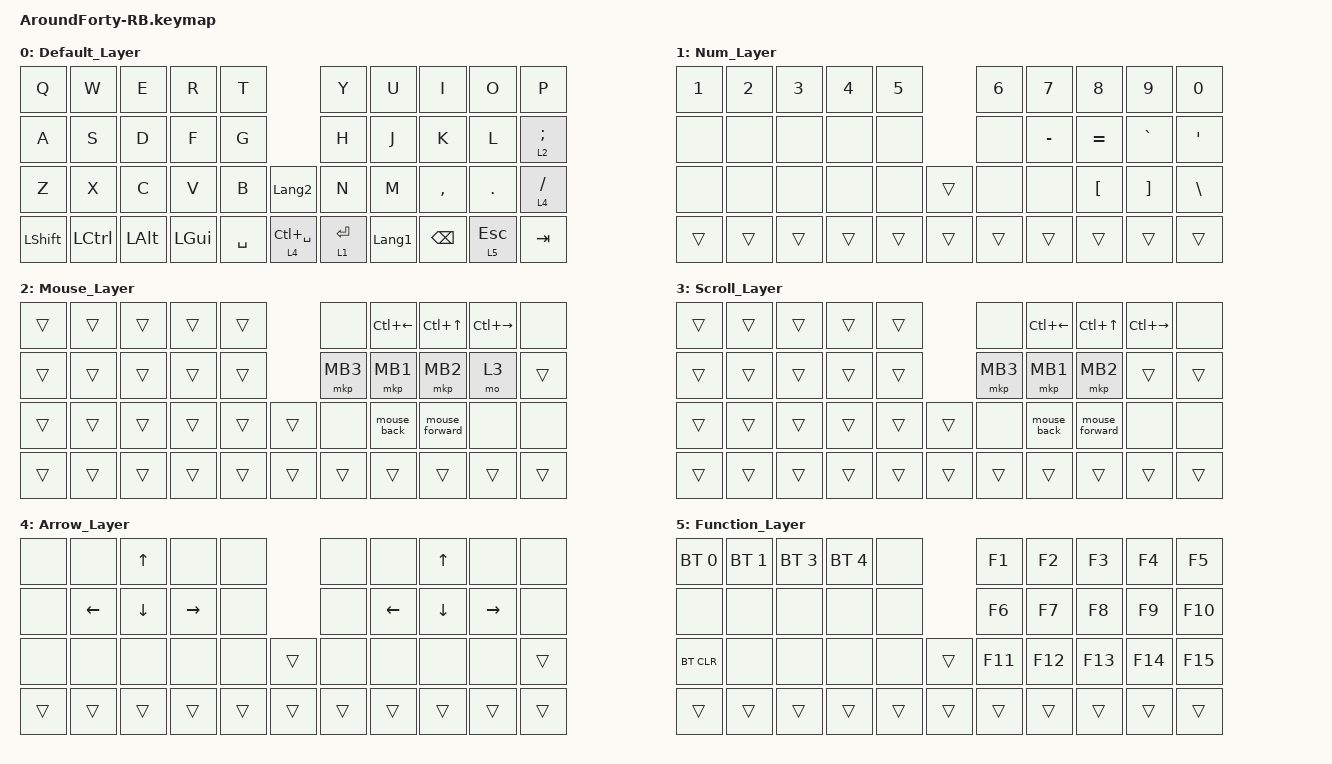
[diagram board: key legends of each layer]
#define ZMK_POINTING_DEFAULT_SCRL_VAL 100
#define MOUSE 6

#include <behaviors/rgbled_widget.dtsi>  // needed to use the behaviors
#include <behaviors.dtsi>
#include <dt-bindings/zmk/bt.h>
#include <dt-bindings/zmk/keys.h>
#include <dt-bindings/zmk/pointing.h>

&mt {
    flavor = "balanced";
    quick-tap-ms = <0>;
};

/ {
    combos { compatible = "zmk,combos"; };

    macros {
        mouse_back: mouse_back {
            compatible = "zmk,behavior-macro";
            #binding-cells = <0>;
            bindings = <&mkp MB4>;
            label = "MOUSE_BACK";
        };

        mouse_forward: mouse_forward {
            compatible = "zmk,behavior-macro";
            #binding-cells = <0>;
            bindings = <&mkp MB5>;
            label = "MOUSE_FORWARD";
        };
    };

    keymap {
        compatible = "zmk,keymap";

        Default_Layer {
            bindings = <
&kp Q           &kp W      &kp E         &kp R         &kp T                       &kp Y        &kp U           &kp I          &kp O         &kp P
&kp A           &kp S      &kp D         &kp F         &kp G                       &kp H        &kp J           &kp K          &kp L         &lt 2 SEMICOLON
&kp Z           &kp X      &kp C         &kp V         &kp B      &kp LANGUAGE_2   &kp N        &kp M           &kp COMMA      &kp PERIOD    &lt 4 SLASH
&kp LEFT_SHIFT  &kp LCTRL  &kp LEFT_ALT  &kp LEFT_GUI  &kp SPACE  &lt 4 LC(SPACE)  &lt 1 ENTER  &kp LANGUAGE_1  &kp BACKSPACE  &lt 5 ESCAPE  &kp TAB
            >;
        };

        Num_Layer {
            bindings = <
&kp NUMBER_1  &kp NUMBER_2  &kp NUMBER_3  &kp NUMBER_4  &kp NUMBER_5          &kp NUMBER_6  &kp NUMBER_7  &kp NUMBER_8      &kp NUMBER_9       &kp NUMBER_0
&none         &none         &none         &none         &none                 &none         &kp MINUS     &kp EQUAL         &kp GRAVE          &kp SQT
&none         &none         &none         &none         &none         &trans  &none         &none         &kp LEFT_BRACKET  &kp RIGHT_BRACKET  &kp BACKSLASH
&trans        &trans        &trans        &trans        &trans        &trans  &trans        &trans        &trans            &trans             &trans
            >;
        };

        Mouse_Layer {
            bindings = <
&trans  &trans  &trans  &trans  &trans          &none     &kp LC(LEFT_ARROW)  &kp LC(UP_ARROW)  &kp LC(RIGHT_ARROW)  &none
&trans  &trans  &trans  &trans  &trans          &mkp MB3  &mkp MB1            &mkp MB2          &mo 3                &trans
&trans  &trans  &trans  &trans  &trans  &trans  &none     &mouse_back         &mouse_forward    &none                &none
&trans  &trans  &trans  &trans  &trans  &trans  &trans    &trans              &trans            &trans               &trans
            >;
        };

        Scroll_Layer {
            bindings = <
&trans  &trans  &trans  &trans  &trans          &none     &kp LC(LEFT_ARROW)  &kp LC(UP_ARROW)  &kp LC(RIGHT_ARROW)  &none
&trans  &trans  &trans  &trans  &trans          &mkp MB3  &mkp MB1            &mkp MB2          &trans               &trans
&trans  &trans  &trans  &trans  &trans  &trans  &none     &mouse_back         &mouse_forward    &none                &none
&trans  &trans  &trans  &trans  &trans  &trans  &trans    &trans              &trans            &trans               &trans
            >;
        };

        Arrow_Layer {
            bindings = <
&none   &none           &kp UP_ARROW    &none            &none           &none   &none           &kp UP_ARROW    &none            &none
&none   &kp LEFT_ARROW  &kp DOWN_ARROW  &kp RIGHT_ARROW  &none           &none   &kp LEFT_ARROW  &kp DOWN_ARROW  &kp RIGHT_ARROW  &none
&none   &none           &none           &none            &none   &trans  &none   &none           &none           &none            &trans
&trans  &trans          &trans          &trans           &trans  &trans  &trans  &trans          &trans          &trans           &trans
            >;
        };

        Function_Layer {
            bindings = <
&bt BT_SEL 0  &bt BT_SEL 1  &bt BT_SEL 3  &bt BT_SEL 4  &none           &kp F1   &kp F2   &kp F3   &kp F4   &kp F5
&none         &none         &none         &none         &none           &kp F6   &kp F7   &kp F8   &kp F9   &kp F10
&bt BT_CLR    &none         &none         &none         &none   &trans  &kp F11  &kp F12  &kp F13  &kp F14  &kp F15
&trans        &trans        &trans        &trans        &trans  &trans  &trans   &trans   &trans   &trans   &trans
            >;
        };
    };
};
